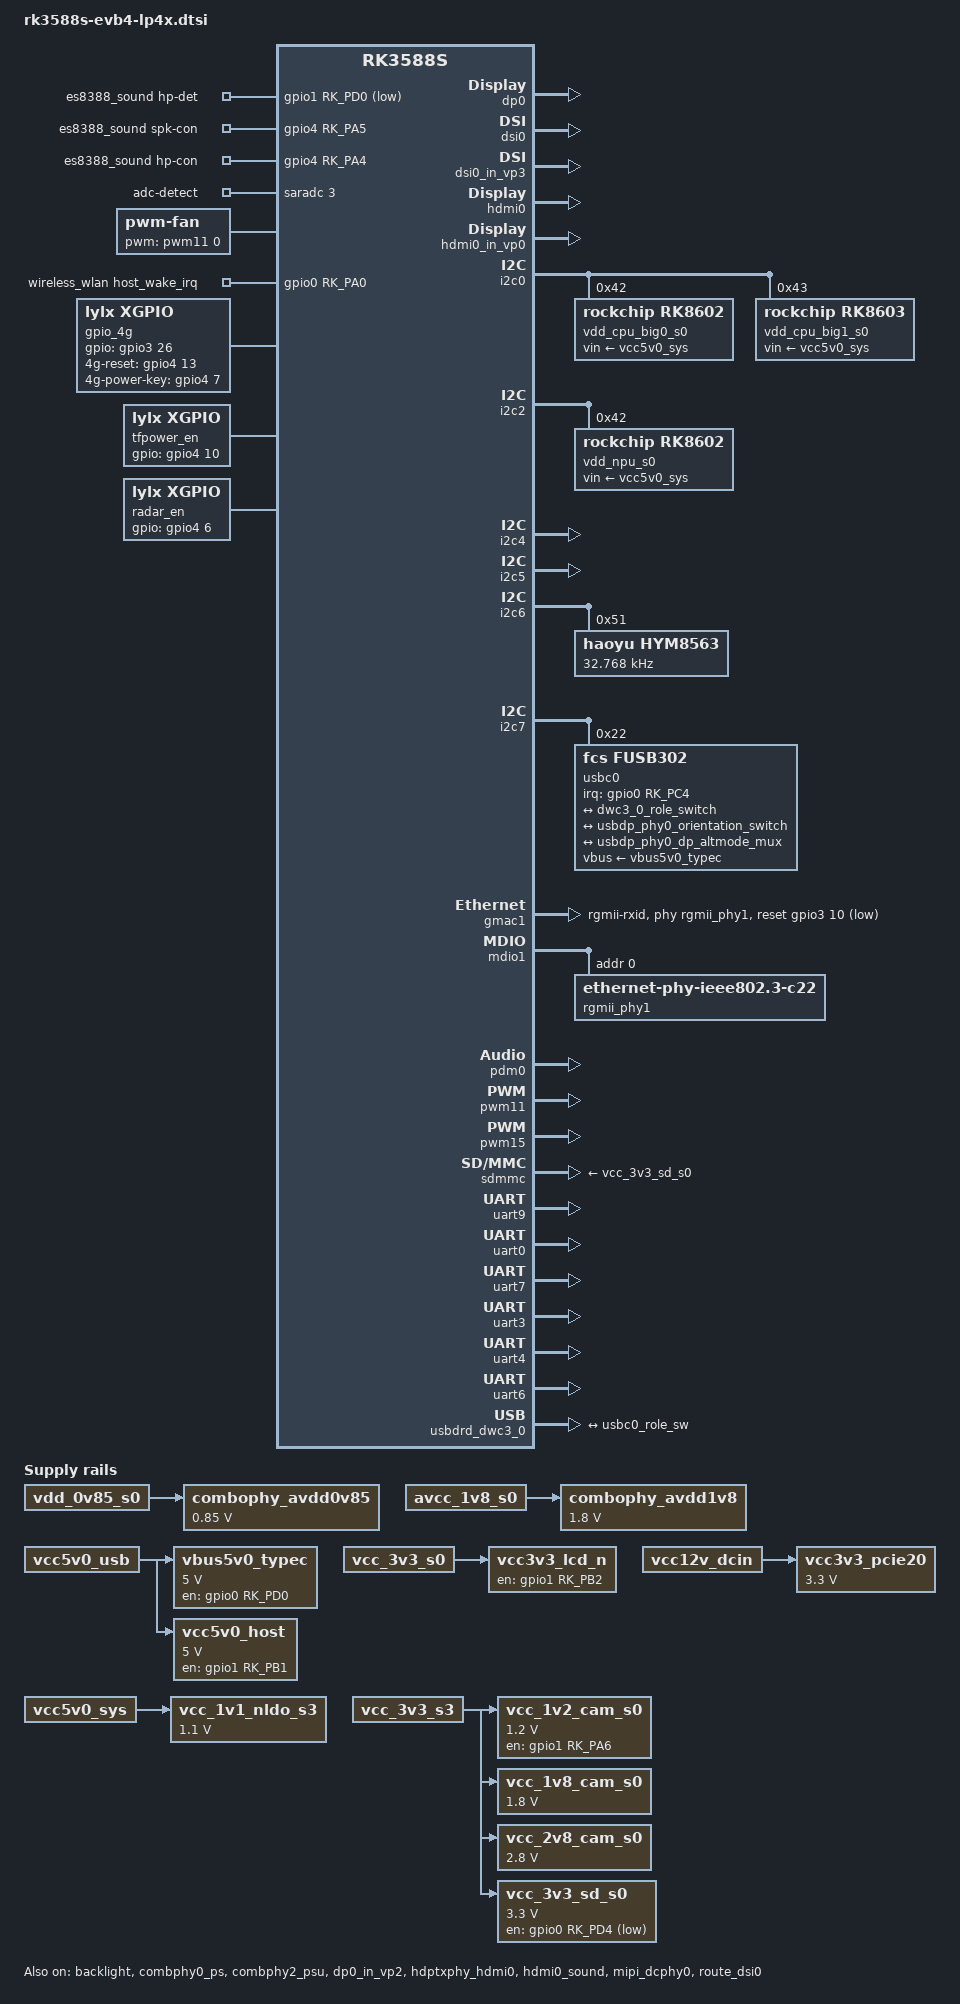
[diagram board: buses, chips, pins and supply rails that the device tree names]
// SPDX-License-Identifier: (GPL-2.0+ OR MIT)
/*
 * Copyright (c) 2021 Rockchip Electronics Co., Ltd.
 *
 */

#include "dt-bindings/usb/pd.h"
#include "rk3588s.dtsi"
#include "rk3588s-evb.dtsi"
#include "rk3588-rk806-single.dtsi"

/ {
	combophy_avdd0v85: combophy-avdd0v85 {
		compatible = "regulator-fixed";
		regulator-name = "combophy_avdd0v85";
		regulator-boot-on;
		regulator-always-on;
		regulator-min-microvolt = <850000>;
		regulator-max-microvolt = <850000>;
		vin-supply = <&vdd_0v85_s0>;
	};

	combophy_avdd1v8: combophy-avdd1v8 {
		compatible = "regulator-fixed";
		regulator-name = "combophy_avdd1v8";
		regulator-boot-on;
		regulator-always-on;
		regulator-min-microvolt = <1800000>;
		regulator-max-microvolt = <1800000>;
		vin-supply = <&avcc_1v8_s0>;
	};

	es7202_sound_micarray: es7202-sound-micarray {
		status = "okay";
		compatible = "simple-audio-card";
		simple-audio-card,format = "i2s";
		simple-audio-card,name = "rockchip,sound-micarray";
		simple-audio-card,mclk-fs = <256>;
		simple-audio-card,dai-link@0 {
			format = "pdm";
			cpu {
				sound-dai = <&pdm0>;
			};
			codec {
				sound-dai = <&es7202>;
			};
		};
	};

	es8388_sound: es8388-sound {
		status = "okay";
		compatible = "rockchip,multicodecs-card";
		rockchip,card-name = "rockchip-es8388";
		hp-det-gpio = <&gpio1 RK_PD0 GPIO_ACTIVE_LOW>;
		io-channels = <&saradc 3>;
		io-channel-names = "adc-detect";
		keyup-threshold-microvolt = <1800000>;
		poll-interval = <100>;
		spk-con-gpio = <&gpio4 RK_PA5 GPIO_ACTIVE_HIGH>;
		hp-con-gpio = <&gpio4 RK_PA4 GPIO_ACTIVE_HIGH>;
		rockchip,format = "i2s";
		rockchip,mclk-fs = <256>;
		rockchip,cpu = <&i2s0_8ch>;
		rockchip,codec = <&es8388>;
		rockchip,audio-routing =
			"Headphone", "LOUT1",
			"Headphone", "ROUT1",
			"Speaker", "LOUT2",
			"Speaker", "ROUT2",
			"Headphone", "Headphone Power",
			"Headphone", "Headphone Power",
			"Speaker", "Speaker Power",
			"Speaker", "Speaker Power",
			"LINPUT1", "Main Mic",
			"LINPUT2", "Main Mic",
			"RINPUT1", "Headset Mic",
			"RINPUT2", "Headset Mic";
		pinctrl-names = "default";
		pinctrl-0 = <&hp_det>;
		play-pause-key {
			label = "playpause";
			linux,code = <KEY_PLAYPAUSE>;
			press-threshold-microvolt = <2000>;
		};
	};

	fan: pwm-fan {
		compatible = "pwm-fan";
		#cooling-cells = <2>;
		pwms = <&pwm11 0 50000 0>;
		cooling-levels = <0 50 100 150 200 255>;
		rockchip,temp-trips = <
			50000	1
			55000	2
			60000	3
			65000	4
			70000	5
		>;
	};

	vbus5v0_typec: vbus5v0-typec {
		compatible = "regulator-fixed";
		regulator-name = "vbus5v0_typec";
		regulator-min-microvolt = <5000000>;
		regulator-max-microvolt = <5000000>;
		enable-active-high;
                gpio = <&gpio0 RK_PD0 GPIO_ACTIVE_HIGH>;
		vin-supply = <&vcc5v0_usb>;
		pinctrl-names = "default";
		pinctrl-0 = <&typec5v_pwren>;
	};

	vcc3v3_lcd_n: vcc3v3-lcd0-n {
		compatible = "regulator-fixed";
		regulator-name = "vcc3v3_lcd0_n";
		regulator-boot-on;
		enable-active-high;
		gpio = <&gpio1 RK_PB2 GPIO_ACTIVE_HIGH>;
		vin-supply = <&vcc_3v3_s0>;
	};

	vcc3v3_pcie20: vcc3v3-pcie20 {
		compatible = "regulator-fixed";
		regulator-name = "vcc3v3_pcie20";
		regulator-min-microvolt = <3300000>;
		regulator-max-microvolt = <3300000>;
		enable-active-high;
                //gpios = <&gpio3 RK_PC3 GPIO_ACTIVE_HIGH>;
		startup-delay-us = <5000>;
		vin-supply = <&vcc12v_dcin>;
	};

	vcc5v0_host: vcc5v0-host {
		compatible = "regulator-fixed";
		regulator-name = "vcc5v0_host";
		regulator-boot-on;
		regulator-always-on;
		regulator-min-microvolt = <5000000>;
		regulator-max-microvolt = <5000000>;
		enable-active-high;
		gpio = <&gpio1 RK_PB1 GPIO_ACTIVE_HIGH>;
		vin-supply = <&vcc5v0_usb>;
		pinctrl-names = "default";
		pinctrl-0 = <&vcc5v0_host_en>;
	};

	vcc_1v1_nldo_s3: vcc-1v1-nldo-s3 {
		compatible = "regulator-fixed";
		regulator-name = "vcc_1v1_nldo_s3";
		regulator-always-on;
		regulator-boot-on;
		regulator-min-microvolt = <1100000>;
		regulator-max-microvolt = <1100000>;
		vin-supply = <&vcc5v0_sys>;
	};

	vcc_1v2_cam_s0: vcc-1v2-cam-s0 {
		compatible = "regulator-fixed";
		regulator-name = "vcc_1v2_cam_s0";
		regulator-min-microvolt = <1200000>;
		regulator-max-microvolt = <1200000>;
		gpios = <&gpio1 RK_PA6 GPIO_ACTIVE_HIGH>;
		enable-active-high;
		vin-supply = <&vcc_3v3_s3>;
		regulator-state-mem {
			regulator-off-in-suspend;
		};
	};

	vcc_1v8_cam_s0: vcc-1v8-cam-s0 {
		compatible = "regulator-fixed";
		regulator-name = "vcc_1v8_cam_s0";
		regulator-min-microvolt = <1800000>;
		regulator-max-microvolt = <1800000>;
		vin-supply = <&vcc_3v3_s3>;
	};

	vcc_2v8_cam_s0: vcc-2v8-cam-s0 {
		compatible = "regulator-fixed";
		regulator-name = "vcc_2v8_cam_s0";
		regulator-min-microvolt = <2800000>;
		regulator-max-microvolt = <2800000>;
		vin-supply = <&vcc_3v3_s3>;
	};

	vcc_3v3_sd_s0: vcc-3v3-sd-s0 {
		compatible = "regulator-fixed";
		regulator-name = "vcc_3v3_sd_s0";
		regulator-min-microvolt = <3300000>;
		regulator-max-microvolt = <3300000>;
		gpios = <&gpio0 RK_PD4 GPIO_ACTIVE_LOW>;
		enable-active-low;
		vin-supply = <&vcc_3v3_s3>;
			regulator-state-mem {
			regulator-off-in-suspend;
		};
	};
/*
	wireless_bluetooth: wireless-bluetooth {
		compatible = "bluetooth-platdata";
		clocks = <&hym8563>;
		clock-names = "ext_clock";
		uart_rts_gpios = <&gpio3 RK_PA4 GPIO_ACTIVE_LOW>;
		pinctrl-names = "default", "rts_gpio";
		pinctrl-0 = <&uart8m1_rtsn>, <&bt_reset_gpio>, <&bt_wake_gpio>, <&bt_wake_host_irq>;
		pinctrl-1 = <&uart8_gpios>;
		BT,reset_gpio    = <&gpio3 RK_PB7 GPIO_ACTIVE_HIGH>;
		BT,wake_gpio     = <&gpio3 RK_PC1 GPIO_ACTIVE_HIGH>;
		BT,wake_host_irq = <&gpio3 RK_PC0 GPIO_ACTIVE_HIGH>;
		status = "okay";
        };

        wireless_bluetooth: wireless-bluetooth {
                compatible = "bluetooth-platdata";
                clocks = <&hym8563>;
                clock-names = "ext_clock";
                uart_rts_gpios = <&gpio3 RK_PD2 GPIO_ACTIVE_LOW>;
                pinctrl-names = "default", "rts_gpio";
                pinctrl-0 = <&uart9m2_rtsn>, <&bt_reset_gpio>, <&bt_wake_gpio>, <&bt_wake_host_irq>;
                pinctrl-1 = <&uart9_gpios>;
                BT,reset_gpio    = <&gpio0 RK_PD4 GPIO_ACTIVE_HIGH>;
                BT,wake_gpio     = <&gpio0 RK_PC6 GPIO_ACTIVE_HIGH>;
                BT,wake_host_irq = <&gpio0 RK_PC5 GPIO_ACTIVE_HIGH>;
                status = "dsiabled";
        };
        sdio_pwrseq: sdio-pwrseq {
                compatible = "mmc-pwrseq-simple";
                clocks = <&hym8563>;
                clock-names = "ext_clock";
                pinctrl-names = "default";
                pinctrl-0 = <&wifi_enable_h>;

                //  On the module itself this is one of these (depending
                //  on the actual card populated):
                //  - SDIO_RESET_L_WL_REG_ON
                //  - PDN (power down when low)

                post-power-on-delay-ms = <200>;
                reset-gpios = <&gpio0 RK_PC7 GPIO_ACTIVE_LOW>;
        };
*/
        wireless_bluetooth: wireless-bluetooth {
                compatible = "bluetooth-platdata";
                clocks = <&hym8563>;
                clock-names = "ext_clock";
                //uart_rts_gpios = <&gpio3 RK_PA4 GPIO_ACTIVE_LOW>;
                //pinctrl-names = "default", "rts_gpio";
                //pinctrl-0 = <&uart8m1_rtsn>, <&bt_reset_gpio>, <&bt_wake_gpio>, <&bt_wake_host_irq>;
                //pinctrl-1 = <&uart8_gpios>;
                //BT,reset_gpio    = <&gpio3 RK_PB7 GPIO_ACTIVE_HIGH>;
                //BT,wake_gpio     = <&gpio3 RK_PC1 GPIO_ACTIVE_HIGH>;
                //BT,wake_host_irq = <&gpio3 RK_PC0 GPIO_ACTIVE_HIGH>;
                status = "okay";
        };
	wireless_wlan: wireless-wlan {
		compatible = "wlan-platdata";
                wifi_chip_type = "rtl8822cu";
		pinctrl-names = "default";
                pinctrl-0 = <&wifi_host_wake_irq>/*, <&wifi_poweren_gpio>*/;
		WIFI,host_wake_irq = <&gpio0 RK_PA0 GPIO_ACTIVE_HIGH>;
                //WIFI,poweren_gpio = <&gpio0 RK_PC7 GPIO_ACTIVE_HIGH>;
		status = "okay";
	};/* 
        gpio_4g{//NEOMOW Y
            compatible = "lylx,xgpio";
            pinctrl-names = "default";
            pinctrl-0 = <&gpio_4g>;
            gpio              = <&gpio0 21  GPIO_ACTIVE_HIGH>;
            gpio-4g-reset     = <&gpio4 7   GPIO_ACTIVE_HIGH>;
            gpio-4g-power-key = <&gpio4 13  GPIO_ACTIVE_HIGH>;
            def_val = <0>;
            //delayms = <200>;
            status = "okay";
        };
        usbpoweren_1{//3d3
            compatible = "lylx,xgpio";
            gpio              = <&gpio3 27  GPIO_ACTIVE_HIGH>;
            def_val = <0>;
            //delayms = <200>;
            status = "okay";
        };
        usbpoweren_2{//3d2
            compatible = "lylx,xgpio";
            gpio              = <&gpio3 26  GPIO_ACTIVE_HIGH>;
            def_val = <0>;
            //delayms = <200>;
            status = "okay";
        };
        usbpoweren_3{//3b2
            compatible = "lylx,xgpio";
            gpio              = <&gpio3 10  GPIO_ACTIVE_HIGH>;//NEOMOW Y
            def_val = <0>;
            //delayms = <200>;
            status = "okay";
        };
        usbpoweren_4{//3a6
            compatible = "lylx,xgpio";
            gpio              = <&gpio3 6  GPIO_ACTIVE_HIGH>;
            def_val = <0>;
            //delayms = <200>;
            status = "okay";
        };        
        */
        gpio_4g{//NEOMOW Y
            compatible = "lylx,xgpio";
            pinctrl-names = "default";
            pinctrl-0 = <&gpio_4g>;
            gpio              = <&gpio3 26  GPIO_ACTIVE_HIGH>;
            gpio-4g-reset     = <&gpio4 13  GPIO_ACTIVE_HIGH>; 
            gpio-4g-power-key = <&gpio4 7   GPIO_ACTIVE_HIGH>;
            def_val = <0>;
            //delayms = <200>;
            status = "okay";
        };        
        tfpower_en{//4b2
            compatible = "lylx,xgpio";
            gpio              = <&gpio4 10  GPIO_ACTIVE_HIGH>;
            def_val = <0>;
            //delayms = <200>;
            status = "okay";
        };          
        radar_en{//4a6
            compatible = "lylx,xgpio";
            gpio              = <&gpio4 6  GPIO_ACTIVE_HIGH>;
            def_val = <0>;
            //delayms = <200>;
            status = "okay";
        };   
};

&backlight {
        pwms = <&pwm11 0 25000 0>;
	status = "okay";
};

&combphy0_ps {
	status = "okay";
};

&combphy2_psu {
	status = "okay";
};

&dp0 {
	status = "okay";
};

&dp0_in_vp2 {
	status = "okay";
};

/*
 * mipi_dcphy0 needs to be enabled
 * when dsi0 is enabled
 */
&dsi0 {
	status = "okay";
};

&dsi0_in_vp2 {
	status = "disabled";
};

&dsi0_in_vp3 {
	status = "okay";
};

&dsi0_panel {
	power-supply = <&vcc3v3_lcd_n>;
        reset-gpios = <&gpio1 RK_PB0 GPIO_ACTIVE_LOW>;
        enable-gpios = <&gpio3 RK_PC1 GPIO_ACTIVE_HIGH>;
	pinctrl-names = "default";
	pinctrl-0 = <&lcd_rst_gpio>;
};

/*
 * mipi_dcphy1 needs to be enabled
 * when dsi1 is enabled
 */
&dsi1 {
	//rockchip,lane-rate = <650>;
	pinctrl-names = "default";
	pinctrl-0 = <&mipi_te1>;
	status = "disabled";
};

&dsi1_in_vp2 {
	status = "disabled";
};

&dsi1_in_vp3 {
	status = "disabled";
};

&dsi1_panel {
	power-supply = <&vcc3v3_lcd_n>;
	compressed-data;
	/*
	 * because in hardware, the two screens share the reset pin,
	 * so reset-gpios need only in dsi1 enable and dsi0 disabled
	 * case.
	 */

	//reset-gpios = <&gpio1 RK_PA4 GPIO_ACTIVE_LOW>;
	//pinctrl-names = "default";
	//pinctrl-0 = <&lcd_rst_gpio>;

	dsi,flags = <(MIPI_DSI_MODE_LPM | MIPI_DSI_MODE_EOT_PACKET)>;

	slice-width = <720>;
	slice-height = <65>;
	version-major = <1>;
	version-minor = <1>;

	panel-init-sequence = [
		29 10 03 f0 5a 5a
		/* Dsc Setting */
		/* Compression Enable */
		07 10 01 01
		/* Scaler Disable */
		15 10 02 c3 00
		/* PPS Setting */
		0a 31 59 10 00 00 89 30 80 0c 30 05 a0 00 41 02 d0 02 d0 02 00 02 c2 00 20 06 58 00 0a 00 0f 01 e0 01 2d 18 00 10 f0 03 0c 20 00 06 0b 0b 33 0e 1c 2a 38 46 54 62 69 70 77 79 7b 7d 7e 01 02 01 00 09 40 09 be 19 fc 19 fa 19 f8 1a 38 1a 78 1a b6 2a b6 2a f4 2a f4 4b 34 63 74 00
		29 10 03 f0 a5 a5
		/** Sleep Out */
		05 00 01 11
		/* 4. Common Setting */
		/* 4.1 TE(Vync) ON/OFF */
		15 00 02 35 00
		/* 4.2 CASET/PASET Setting */
		39 00 05 2a 00 00 05 9F
		39 00 05 2b 00 00 0c 2f
		/* 4.3 TSP SYNC Setting */
		39 00 03 f0 5a 5a
		39 00 0a B9 01 c0 3c 0b 00 00 00 11 03
		39 00 03 f0 a5 a5
		/* FD(Fast Discharge) Setting */
		39 00 03 f0 5a 5a
		15 00 02 b0 45
		15 00 02 b5 48
		39 00 03 f0 a5 a5
		/* 4.6 FFC Setting (MIPI CLK 529MHz) */
		39 00 03 f0 5a 5a
		39 00 03 fc 5a 5a
		15 00 02 b0 1E
		39 00 06 c5 09 10 b4 24 fb
		39 00 03 f0 a5 a5
		39 00 03 fc a5 a5
		/* OSC Spread Setting */
		39 00 03 f0 5a 5a
		39 00 03 fc 5a 5a
		15 00 02 b0 37
		/* FFC Setting; 0x04 : Disable */
		39 00 06 c5 04 ff 00 01 64
		39 00 03 f0 a5 a5
		39 00 03 fc a5 a5
		/* Dither IP Setting */
		39 00 03 FC 5A 5A
		15 00 02 b0 86
		15 00 02 eb 01
		39 00 03 FC a5 a5
		/* 5 Brightness Control */
		/* 5.1 Dimming Setting */
		39 10 03 f0 5a 5a
		15 10 02 b0 05
		15 10 02 b1 01
		15 10 02 b0 02
		15 10 02 b5 d3
		15 10 02 53 20
		39 10 03 f0 a5 a5
		39 10 03 51 02 ff
		05 32 01 29
	];

	panel-exit-sequence = [
		/* Display off */
		05 14 01 28
		/* Sleep In */
		05 00 01 10
		/* VCI stabilization setting */
		39 00 03 f0 5a 5a
		15 00 02 b0 05
		15 00 02 f4 01
		39 a0 03 f0 a5 a5
	];

	disp_timings1: display-timings {
		native-mode = <&dsi1_timing0>;
		dsi1_timing0: timing0 {
			clock-frequency = <280000000>;
			hactive = <1140>;
			vactive = <3120>;
			hfront-porch = <16>;
			hsync-len = <8>;
			hback-porch = <8>;
			vfront-porch = <4>;
			vsync-len = <2>;
			vback-porch = <16>;
			hsync-active = <0>;
			vsync-active = <0>;
			de-active = <0>;
			pixelclk-active = <0>;
		};
	};
};

&hdptxphy_hdmi0 {
        status = "okay";
};


&hdmi0 {
        enable-gpios = <&gpio4 RK_PB6 GPIO_ACTIVE_HIGH>;
        status = "okay";
};

&hdmi0_in_vp0 {
        status = "okay";
};

&hdmi0_sound {
        status = "okay";
};


&i2c0 {
	status = "okay";
	pinctrl-names = "default";
	pinctrl-0 = <&i2c0m2_xfer>;

	vdd_cpu_big0_s0: vdd_cpu_big0_mem_s0: rk8602@42 {
		compatible = "rockchip,rk8602";
		reg = <0x42>;
		vin-supply = <&vcc5v0_sys>;
		regulator-compatible = "rk860x-reg";
		regulator-name = "vdd_cpu_big0_s0";
		regulator-min-microvolt = <550000>;
		regulator-max-microvolt = <1050000>;
		regulator-ramp-delay = <2300>;
		rockchip,suspend-voltage-selector = <1>;
		regulator-boot-on;
		regulator-always-on;
		regulator-state-mem {
			regulator-off-in-suspend;
		};
	};

	vdd_cpu_big1_s0: vdd_cpu_big1_mem_s0: rk8603@43 {
		compatible = "rockchip,rk8603";
		reg = <0x43>;
		vin-supply = <&vcc5v0_sys>;
		regulator-compatible = "rk860x-reg";
		regulator-name = "vdd_cpu_big1_s0";
		regulator-min-microvolt = <550000>;
		regulator-max-microvolt = <1050000>;
		regulator-ramp-delay = <2300>;
		rockchip,suspend-voltage-selector = <1>;
		regulator-boot-on;
		regulator-always-on;
		regulator-state-mem {
			regulator-off-in-suspend;
		};
	};
};

&i2c2 {
	status = "okay";
	vdd_npu_s0: vdd_npu_mem_s0: rk8602@42 {
		compatible = "rockchip,rk8602";
		reg = <0x42>;
		vin-supply = <&vcc5v0_sys>;
		regulator-compatible = "rk860x-reg";
		regulator-name = "vdd_npu_s0";
		regulator-min-microvolt = <550000>;
		regulator-max-microvolt = <950000>;
		regulator-ramp-delay = <2300>;
		rockchip,suspend-voltage-selector = <1>;
		regulator-boot-on;
		regulator-always-on;
		regulator-state-mem {
			regulator-off-in-suspend;
		};
	};
};

&i2c3 {
        status = "disabled";
/*
	es8388: es8388@11 {
                status = "disabled";
		#sound-dai-cells = <0>;
		compatible = "everest,es8388", "everest,es8323";
		reg = <0x11>;
		clocks = <&cru I2S0_8CH_MCLKOUT>;
		clock-names = "mclk";
		pinctrl-names = "default";
		pinctrl-0 = <&i2s0_mclk>;
	};
*/
	es7202: es7202@32 {
                status = "disabled";
		#sound-dai-cells = <0>;
		compatible = "ES7202_PDM_ADC_1";
		power-supply = <&vcc_1v8_s0>;	/* only 1v8 or 3v3, default is 3v3 */
		reg = <0x32>;
	};
};

&i2c4 {
	status = "okay";
	pinctrl-names = "default";
	pinctrl-0 = <&i2c4m3_xfer>;
/*
	gt1x: gt1x@14 {
		compatible = "goodix,gt1x";
                status = "disabled";
		reg = <0x14>;
		pinctrl-names = "default";
		pinctrl-0 = <&touch_gpio>;
		goodix,rst-gpio = <&gpio1 RK_PB4 GPIO_ACTIVE_HIGH>;
		goodix,irq-gpio = <&gpio1 RK_PB5 IRQ_TYPE_LEVEL_LOW>;
		power-supply = <&vcc3v3_lcd_n>;
        };
        gslx680@40 {
                compatible = "gslX680";
                reg = <0x40>;
                pinctrl-names = "default";
                pinctrl-0 = <&touch_gpio>;
                touch-gpio = <&gpio0 RK_PD5 IRQ_TYPE_EDGE_RISING>;
                reset-gpio = <&gpio3 RK_PC2 GPIO_ACTIVE_LOW>;
                max-x = <1024>;
                max-y = <600>;
       };*/

};

&i2c5 {
	status = "okay";
        pinctrl-0 = <&i2c5m3_xfer>;

	ls_stk3332: light@47 {
		compatible = "ls_stk3332";
		status = "disabled";
		reg = <0x47>;
		type = <SENSOR_TYPE_LIGHT>;
		irq_enable = <0>;
		als_threshold_high = <100>;
		als_threshold_low = <10>;
		als_ctrl_gain = <2>; /* 0:x1 1:x4 2:x16 3:x64 */
		poll_delay_ms = <100>;
	};

	ps_stk3332: proximity@47 {
		compatible = "ps_stk3332";
		status = "disabled";
		reg = <0x47>;
		type = <SENSOR_TYPE_PROXIMITY>;
		//pinctrl-names = "default";
		//pinctrl-0 = <&gpio3_c6>;
		//irq-gpio = <&gpio3 RK_PC6 IRQ_TYPE_LEVEL_LOW>;
		//irq_enable = <1>;
		ps_threshold_high = <0x200>;
		ps_threshold_low = <0x100>;
		ps_ctrl_gain = <3>; /* 0:x1 1:x2 2:x5 3:x8 */
		ps_led_current = <4>; /* 0:3.125mA 1:6.25mA 2:12.5mA 3:25mA 4:50mA 5:100mA*/
		poll_delay_ms = <100>;
	};

	mpu6500_acc: mpu_acc@68 {
		compatible = "mpu6500_acc";
		reg = <0x68>;
		irq-gpio = <&gpio3 RK_PB4 IRQ_TYPE_EDGE_RISING>;
		irq_enable = <0>;
		poll_delay_ms = <30>;
		type = <SENSOR_TYPE_ACCEL>;
		layout = <8>;
                status = "disabled";
	};

	mpu6500_gyro: mpu_gyro@68 {
		compatible = "mpu6500_gyro";
		reg = <0x68>;
		irq_enable = <0>;
		poll_delay_ms = <30>;
		type = <SENSOR_TYPE_GYROSCOPE>;
		layout = <8>;
                status = "disabled";
        };
};

&i2c6 {
        status = "okay";
        pinctrl-names = "default";
        pinctrl-0 = <&i2c6m3_xfer>;

        hym8563: hym8563@51 {
                compatible = "haoyu,hym8563";
                reg = <0x51>;
                #clock-cells = <0>;
                clock-frequency = <32768>;
                clock-output-names = "hym8563";
                //pinctrl-names = "default";
                //pinctrl-0 = <&hym8563_int>;
                //interrupt-parent = <&gpio0>;
                //interrupts = <RK_PB0 IRQ_TYPE_LEVEL_LOW>;
                //wakeup-source;
                status = "okay";
        };
};

&i2c7 {
        status = "okay";
        pinctrl-names = "default";
        pinctrl-0 = <&i2c7m0_xfer>;
        usbc0: fusb302@22 {
                compatible = "fcs,fusb302";
                reg = <0x22>;
                interrupt-parent = <&gpio0>;
                interrupts = <RK_PC4 IRQ_TYPE_LEVEL_LOW>;
                pinctrl-names = "default";
                pinctrl-0 = <&usbc0_int>;
                vbus-supply = <&vbus5v0_typec>;
                status = "okay";

                ports {
                        #address-cells = <1>;
                        #size-cells = <0>;

                        port@0 {
                                reg = <0>;
                                usbc0_role_sw: endpoint@0 {
                                        remote-endpoint = <&dwc3_0_role_switch>;
                                };
                        };
                };

                usb_con: connector {
                        compatible = "usb-c-connector";
                        label = "USB-C";
                        data-role = "dual";
                        power-role = "dual";
                        try-power-role = "sink";
                        op-sink-microwatt = <1000000>;
                        sink-pdos =
                                <PDO_FIXED(5000, 1000, PDO_FIXED_USB_COMM)>;
                        source-pdos =
                                <PDO_FIXED(5000, 3000, PDO_FIXED_USB_COMM)>;

                        altmodes {
                                #address-cells = <1>;
                                #size-cells = <0>;

                                altmode@0 {
                                        reg = <0>;
                                        svid = <0xff01>;
                                        vdo = <0xffffffff>;
                                };
                        };

                        ports {
                                #address-cells = <1>;
                                #size-cells = <0>;

                                port@0 {
                                        reg = <0>;
                                        usbc0_orien_sw: endpoint {
                                                remote-endpoint = <&usbdp_phy0_orientation_switch>;
                                        };
                                };

                                port@1 {
                                        reg = <1>;
                                        dp_altmode_mux: endpoint {
                                                remote-endpoint = <&usbdp_phy0_dp_altmode_mux>;
                                        };
                                };
                        };
                };
        };
        es8388: es8388@11 {
                status = "disabled";
                #sound-dai-cells = <0>;
                compatible = "everest,es8388", "everest,es8323";
                reg = <0x11>;
                clocks = <&cru I2S0_8CH_MCLKOUT>;
                clock-names = "mclk";
                pinctrl-names = "default";
                pinctrl-0 = <&i2s0_mclk>;
        };
};

&mipi_dcphy0 {
	status = "okay";
};

&mipi_dcphy1 {
	status = "disabled";
};

&gmac1 {

    phy-mode = "rgmii-rxid";
    clock_in_out = "input";

    //snps,reset-gpio = <&gpio0 29 1>;//HEOLOTY算力板
    snps,reset-gpio = <&gpio3 10 1>;//NEOIOTX主控板
    snps,reset-active-low;

    snps,reset-delays-us = <0 20000 100000>;

    pinctrl-names = "default";
    pinctrl-0 = <&gmac1_miim
                &gmac1_tx_bus2
                &gmac1_rx_bus2
                &gmac1_rgmii_clk
                &gmac1_rgmii_bus
                &gmac1_clkinout>;
               // &eth1_pins>;

     tx_delay = <0x44>;
     rx_delay = <0x18>;

     phy-handle = <&rgmii_phy1>;
     status = "okay";
};
&mdio1 {
        rgmii_phy1: phy@0 {
                compatible = "ethernet-phy-ieee802.3-c22";
                reg = <0x0>;
              //  clocks = <&cru REFCLKO25M_ETH0_OUT>;
        };
};

&pdm0 {
	status = "okay";
};

&pcie2x1l1 {
        //reset-gpios = <&gpio4 RK_PA2 GPIO_ACTIVE_HIGH>;
	vpcie3v3-supply = <&vcc3v3_pcie20>;
        status = "disabled";
};

&pcie2x1l2 {
        reset-gpios = <&gpio3 RK_PD1 GPIO_ACTIVE_HIGH>;
        rockchip,skip-scan-in-resume;
        pinctrl-names = "default";
        pinctrl-0 = <&rtl8111_isolate>;
        status = "disabled";
};

&pinctrl {
	headphone {
		hp_det: hp-det {
                        rockchip,pins = <4 RK_PA7 RK_FUNC_GPIO &pcfg_pull_none>;
		};
	};
        xgpio{
                gpio_4g:gpio-4g{
                        rockchip,pins =
                                <3 6  RK_FUNC_GPIO &pcfg_pull_up>,
                                <3 10 RK_FUNC_GPIO &pcfg_pull_up>,
                                <3 26 RK_FUNC_GPIO &pcfg_pull_up>,
                                <3 27 RK_FUNC_GPIO &pcfg_pull_up>,
                                <0 21 RK_FUNC_GPIO &pcfg_pull_up>,
                                <0 29 RK_FUNC_GPIO &pcfg_pull_up>,
                                <4 6  RK_FUNC_GPIO &pcfg_pull_up>,
                                <4 7  RK_FUNC_GPIO &pcfg_pull_up>,
                                <4 10  RK_FUNC_GPIO &pcfg_pull_none>,
                                <4 13 RK_FUNC_GPIO &pcfg_pull_up>;
                };
        };
	hym8563 {
		hym8563_int: hym8563-int {
			rockchip,pins = <0 RK_PB0 RK_FUNC_GPIO &pcfg_pull_up>;
		};
	};
        rtl8111 {
                rtl8111_isolate: rtl8111-isolate {
                        rockchip,pins = <4 RK_PA2 RK_FUNC_GPIO &pcfg_pull_up>;
                };
        };
	lcd {
		lcd_rst_gpio: lcd-rst-gpio {
                        rockchip,pins = <3 RK_PC1 RK_FUNC_GPIO &pcfg_pull_none>,
                                        <1 RK_PB0 RK_FUNC_GPIO &pcfg_pull_none>;
		};
	};

	sensor {
		mpu6500_irq_gpio: mpu6500_irq_gpio {
			rockchip,pins = <3 RK_PB4 RK_FUNC_GPIO &pcfg_pull_none>;
		};
	};

	touch {
		touch_gpio: touch-gpio {
			rockchip,pins =
                                <0 RK_PD5 RK_FUNC_GPIO &pcfg_pull_up>,
                                <3 RK_PC2 RK_FUNC_GPIO &pcfg_pull_up>;
		};
        };

	usb {
		vcc5v0_host_en: vcc5v0-host-en {
                        rockchip,pins = <1 RK_PC6 RK_FUNC_GPIO &pcfg_pull_none>;
		};
	};

	usb-typec {
		usbc0_int: usbc0-int {
                        rockchip,pins = <0 RK_PC4 RK_FUNC_GPIO &pcfg_pull_up>;
		};

		typec5v_pwren: typec5v-pwren {
                        rockchip,pins = <0 RK_PD0 RK_FUNC_GPIO &pcfg_pull_none>;
		};
	};
/*
        wireless-bluetooth {
                uart9_gpios: uart9-gpios {
                        rockchip,pins = <3 RK_PD2 RK_FUNC_GPIO &pcfg_pull_none>;
                };

                bt_reset_gpio: bt-reset-gpio {
                        rockchip,pins = <0 RK_PD4 RK_FUNC_GPIO &pcfg_pull_none>;
                };

                bt_wake_gpio: bt-wake-gpio {
                        rockchip,pins = <0 RK_PC6 RK_FUNC_GPIO &pcfg_pull_none>;
                };

                bt_wake_host_irq: bt-wake-host-irq {
                        rockchip,pins = <0 RK_PC5 RK_FUNC_GPIO &pcfg_pull_down>;
                };
        };
*/
        sdio-pwrseq {
                wifi_enable_h: wifi-enable-h {
                        rockchip,pins = <0 RK_PC7 RK_FUNC_GPIO &pcfg_pull_up>;
                };
        };
	wireless-wlan {
		wifi_host_wake_irq: wifi-host-wake-irq {
			rockchip,pins = <0 RK_PA0 RK_FUNC_GPIO &pcfg_pull_down>;
		};

		wifi_poweren_gpio: wifi-poweren-gpio {
			rockchip,pins = <0 RK_PC7 RK_FUNC_GPIO &pcfg_pull_up>;
		};
	};

};

&pwm11 {
	pinctrl-0 = <&pwm11m1_pins>;
	status = "okay";
};

&pwm13 {
        status = "disabled";
	pinctrl-names = "active";
	pinctrl-0 = <&pwm13m1_pins>;
};

&pwm14 {
        status = "disabled";
        pinctrl-names = "active";
        pinctrl-0 = <&pwm14m1_pins>;
};


&pwm15 {
	compatible = "rockchip,remotectl-pwm";
	pinctrl-names = "default";
	pinctrl-0 = <&pwm15m0_pins>;
	remote_pwm_id = <3>;
	handle_cpu_id = <1>;
	remote_support_psci = <0>;
	status = "okay";

	ir_key1 {
		rockchip,usercode = <0x4040>;
		rockchip,key_table =
			<0xf2   KEY_REPLY>,
			<0xba   KEY_BACK>,
			<0xf4   KEY_UP>,
			<0xf1   KEY_DOWN>,
			<0xef   KEY_LEFT>,
			<0xee   KEY_RIGHT>,
			<0xbd   KEY_HOME>,
			<0xea   KEY_VOLUMEUP>,
			<0xe3   KEY_VOLUMEDOWN>,
			<0xe2   KEY_SEARCH>,
			<0xb2   KEY_POWER>,
			<0xbc   KEY_MUTE>,
			<0xec   KEY_MENU>,
			<0xbf   0x190>,
			<0xe0   0x191>,
			<0xe1   0x192>,
			<0xe9   183>,
			<0xe6   248>,
			<0xe8   185>,
			<0xe7   186>,
			<0xf0   388>,
			<0xbe   0x175>;
	};

	ir_key2 {
		rockchip,usercode = <0xff00>;
		rockchip,key_table =
			<0xf9   KEY_HOME>,
			<0xbf   KEY_BACK>,
			<0xfb   KEY_MENU>,
			<0xaa   KEY_REPLY>,
			<0xb9   KEY_UP>,
			<0xe9   KEY_DOWN>,
			<0xb8   KEY_LEFT>,
			<0xea   KEY_RIGHT>,
			<0xeb   KEY_VOLUMEDOWN>,
			<0xef   KEY_VOLUMEUP>,
			<0xf7   KEY_MUTE>,
			<0xe7   KEY_POWER>,
			<0xfc   KEY_POWER>,
			<0xa9   KEY_VOLUMEDOWN>,
			<0xa8   KEY_PLAYPAUSE>,
			<0xe0   KEY_VOLUMEDOWN>,
			<0xa5   KEY_VOLUMEDOWN>,
			<0xab   183>,
			<0xb7   388>,
			<0xe8   388>,
			<0xf8   184>,
			<0xaf   185>,
			<0xed   KEY_VOLUMEDOWN>,
			<0xee   186>,
			<0xb3   KEY_VOLUMEDOWN>,
			<0xf1   KEY_VOLUMEDOWN>,
			<0xf2   KEY_VOLUMEDOWN>,
			<0xf3   KEY_SEARCH>,
			<0xb4   KEY_VOLUMEDOWN>,
			<0xa4   KEY_SETUP>,
			<0xbe   KEY_SEARCH>;
	};

	ir_key3 {
		rockchip,usercode = <0x1dcc>;
		rockchip,key_table =
			<0xee   KEY_REPLY>,
			<0xf0   KEY_BACK>,
			<0xf8   KEY_UP>,
			<0xbb   KEY_DOWN>,
			<0xef   KEY_LEFT>,
			<0xed   KEY_RIGHT>,
			<0xfc   KEY_HOME>,
			<0xf1   KEY_VOLUMEUP>,
			<0xfd   KEY_VOLUMEDOWN>,
			<0xb7   KEY_SEARCH>,
			<0xff   KEY_POWER>,
			<0xf3   KEY_MUTE>,
			<0xbf   KEY_MENU>,
			<0xf9   0x191>,
			<0xf5   0x192>,
			<0xb3   388>,
			<0xbe   KEY_1>,
			<0xba   KEY_2>,
			<0xb2   KEY_3>,
			<0xbd   KEY_4>,
			<0xf9   KEY_5>,
			<0xb1   KEY_6>,
			<0xfc   KEY_7>,
			<0xf8   KEY_8>,
			<0xb0   KEY_9>,
			<0xb6   KEY_0>,
			<0xb5   KEY_BACKSPACE>;
	};
};

&route_dsi0 {
	status = "okay";
	connect = <&vp3_out_dsi0>;
};

&route_dsi1 {
	status = "disabled";
	connect = <&vp3_out_dsi1>;
};

&sdmmc {
	status = "okay";
	vmmc-supply = <&vcc_3v3_sd_s0>;
};
/*
&sdio {
        max-frequency = <150000000>;
        no-sd;
        no-mmc;
        bus-width = <4>;
        disable-wp;
        cap-sd-highspeed;
        cap-sdio-irq;
        keep-power-in-suspend;
        mmc-pwrseq = <&sdio_pwrseq>;
        non-removable;
        pinctrl-names = "default";
        pinctrl-0 = <&sdiom1_pins>;
        sd-uhs-sdr104;
        status = "disabled";
};
*/


&spdif_tx1 {
        status = "disabled";
	pinctrl-names = "default";
	pinctrl-0 = <&spdif1m1_tx>;
};

&spdif_tx1_dc {
        status = "disabled";
};

&spdif_tx1_sound {
        status = "disabled";
};

&spi2 {
	pinctrl-names = "default";
	pinctrl-0 = <&spi2m2_cs0 &spi2m2_pins>;
	num-cs = <1>;
};
&spi0 {
        status = "disabled";
        pinctrl-names = "default";
        pinctrl-0 = <&spi0m1_cs1 &spi0m1_pins>;
        num-cs = <1>;
        spi_test@0 {
        compatible = "rockchip,spidev";
        reg = <0>;
        spi-max-frequency = <5000000>;
        };
};



&u2phy0_otg {
	rockchip,typec-vbus-det;
};

&u2phy2_host {
	phy-supply = <&vcc5v0_host>;
};

&u2phy3_host {
	phy-supply = <&vcc5v0_host>;
};

&uart9 {//
        status = "okay";
        pinctrl-names = "default";
        pinctrl-0 = <&uart9m2_xfer>;
};

&uart0 {//
        status = "okay";
        pinctrl-names = "default";
        pinctrl-0 = <&uart0m2_xfer >;
};
&uart7 {
        status = "okay";
        pinctrl-names = "default";
        pinctrl-0 = <&uart7m2_xfer >;
};
&uart3 {//
        status = "okay";
        pinctrl-names = "default";
        pinctrl-0 = <&uart3m0_xfer >;
};
&uart4 {//
        status = "okay";
        pinctrl-names = "default";
        pinctrl-0 = <&uart4m0_xfer >;
};
&uart5 {
        status = "disabled";
        pinctrl-names = "default";
        pinctrl-0 = <&uart5m1_xfer >;
};
&uart6 {
        status = "okay";
        pinctrl-names = "default";
        pinctrl-0 = <&uart6m1_xfer >;
};
&usbdp_phy0 {
	orientation-switch;
	svid = <0xff01>;
	sbu1-dc-gpios = <&gpio1 RK_PB6 GPIO_ACTIVE_HIGH>;
	sbu2-dc-gpios = <&gpio1 RK_PB7 GPIO_ACTIVE_HIGH>;

	port {
		#address-cells = <1>;
		#size-cells = <0>;
		usbdp_phy0_orientation_switch: endpoint@0 {
			reg = <0>;
			remote-endpoint = <&usbc0_orien_sw>;
		};

		usbdp_phy0_dp_altmode_mux: endpoint@1 {
			reg = <1>;
			remote-endpoint = <&dp_altmode_mux>;
		};
	};
};

&usbdrd_dwc3_0 {
	usb-role-switch;
	port {
		#address-cells = <1>;
		#size-cells = <0>;
		dwc3_0_role_switch: endpoint@0 {
			reg = <0>;
			remote-endpoint = <&usbc0_role_sw>;
		};
	};
};

&usbhost3_0 {
	status = "disabled";
};

&usbhost_dwc3_0 {
	status = "disabled";
};
